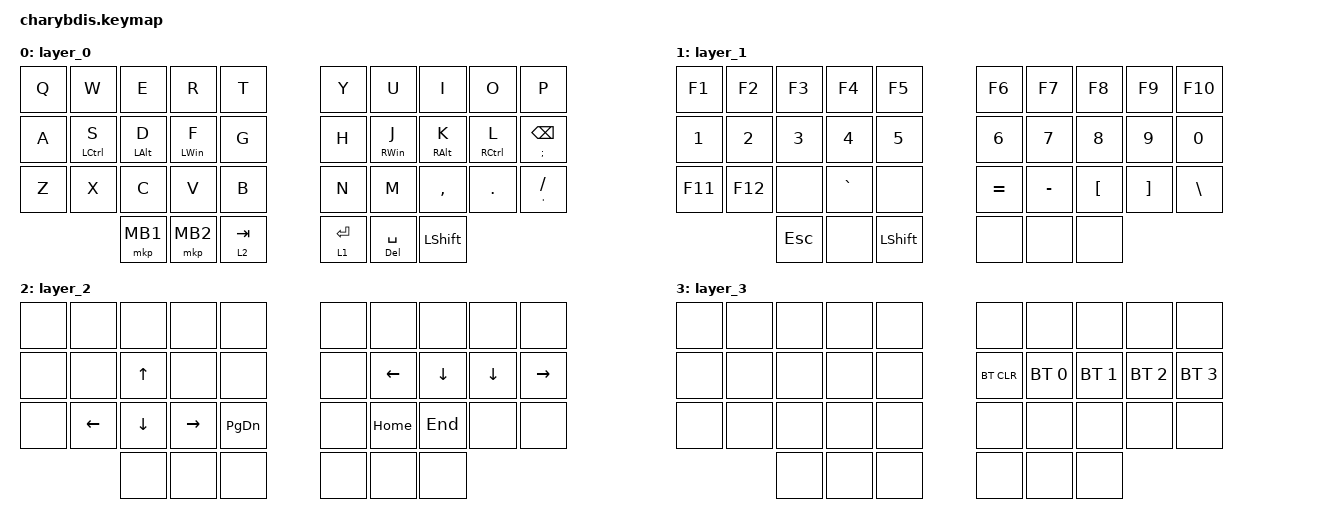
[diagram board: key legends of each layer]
#include <behaviors.dtsi>
#include <dt-bindings/zmk/bt.h>
#include <dt-bindings/zmk/keys.h>
#include <dt-bindings/zmk/pointing.h>
#include <dt-bindings/zmk/rgb.h>

&lt {
    tapping-term-ms = <200>;
    flavor = "balanced";
    quick-tap-ms = <150>;
};

/ {
    macros {
        To1_macro: To1_macro {
            compatible = "zmk,behavior-macro";
            label = "To1_macro";
            #binding-cells = <0>;
            bindings = <&rgb_ug RGB_EFF &rgb_ug RGB_COLOR_HSB(128,100,50) &to 4>;
        };

        To0_macro: To0_macro {
            compatible = "zmk,behavior-macro";
            label = "To0_macro";
            #binding-cells = <0>;
            bindings = <&rgb_ug RGB_EFR &to 0>;
        };

        To2_macro: To2_macro {
            compatible = "zmk,behavior-macro";
            label = "To2_macro";
            #binding-cells = <0>;
            bindings =
                <&to 0>,
                <&macro_wait_time 30>,
                <&rgb_ug RGB_COLOR_HSB(250,100,50)>;
        };
    };

    behaviors {
        ht_kyd: ht_kyd {
            compatible = "zmk,behavior-hold-tap";
            label = "HT_KYD";
            bindings = <&kp>, <&kp>;

            #binding-cells = <2>;
            flavor = "tap-preferred";
            tapping-term-ms = <200>;
            quick-tap-ms = <150>;
        };
    };

    keymap {
        compatible = "zmk,keymap";

        layer_0 {
            bindings = <
&kp Q  &kp W            &kp E               &kp R               &kp T        &kp Y        &kp U                 &kp I                &kp O            &kp P
&kp A  &ht_kyd LCTRL S  &ht_kyd LEFT_ALT D  &ht_kyd LEFT_WIN F  &kp G        &kp H        &ht_kyd RIGHT_WIN J   &ht_kyd RIGHT_ALT K  &ht_kyd RCTRL L  &ht_kyd SEMICOLON BACKSPACE
&kp Z  &kp X            &kp C               &kp V               &kp B        &kp N        &kp M                 &kp COMMA            &kp DOT          &ht_kyd SQT SLASH
                        &mkp MB1            &mkp MB2            &lt 2 TAB    &lt 1 ENTER  &ht_kyd DELETE SPACE  &kp LEFT_SHIFT
            >;
        };

        layer_1 {
            bindings = <
&kp F1   &kp F2   &kp F3      &kp F4     &kp F5            &kp F6     &kp F7     &kp F8            &kp F9             &kp F10
&kp N1   &kp N2   &kp N3      &kp N4     &kp N5            &kp N6     &kp N7     &kp N8            &kp N9             &kp N0
&kp F11  &kp F12  &none       &kp GRAVE  &none             &kp EQUAL  &kp MINUS  &kp LEFT_BRACKET  &kp RIGHT_BRACKET  &kp BACKSLASH
                  &kp ESCAPE  &none      &kp LEFT_SHIFT    &none      &none      &none
            >;
        };

        layer_2 {
            bindings = <
&none  &none           &none           &none            &none            &none  &none           &none           &none           &none
&none  &none           &kp UP_ARROW    &none            &none            &none  &kp LEFT_ARROW  &kp DOWN_ARROW  &kp DOWN_ARROW  &kp RIGHT_ARROW
&none  &kp LEFT_ARROW  &kp DOWN_ARROW  &kp RIGHT_ARROW  &kp PAGE_DOWN    &none  &kp HOME        &kp END         &none           &none
                       &none           &none            &none            &none  &none           &none
            >;
        };

        layer_3 {
            bindings = <
&none  &none  &none  &none  &none    &none       &none         &none         &none         &none
&none  &none  &none  &none  &none    &bt BT_CLR  &bt BT_SEL 0  &bt BT_SEL 1  &bt BT_SEL 2  &bt BT_SEL 3
&none  &none  &none  &none  &none    &none       &none         &none         &none         &none
              &none  &none  &none    &none       &none         &none
            >;
        };

        /* layer_2 {
            bindings = <
&none  &none   &none    &none   &none         &none         &kp N1         &none         &none     &none  &none   &to 0
&none  &none   &none    &none   &none         &none         &none         &none          &rgb_ug RGB_BRD &rgb_ug RGB_BRI  &rgb_ug RGB_EFF   &rgb_ug RGB_TOG
&none  &none   &none    &none   &none         &none         &none         &mkp LCLK     &mkp RCLK  &none  &none   &none
&none  &none   &none    &none   &bt BT_NXT  &bt BT_CLR    &none         &none         &none     &none  &none   &none
                                   &none         &none         &none         &none         &none
                                                 &none         &none         &none
            >;
       
            
        };

       Mouse {
            bindings = <
&none        &none         &none         &none         &none      &none         &none       &none      &none         &none         &none         &none
&none        &bt BT_SEL 0  &bt BT_SEL 1  &bt BT_SEL 3  &none      &bt BT_CLR    &bt BT_CLR  &none      &bt BT_SEL 2  &bt BT_SEL 1  &bt BT_SEL 0  &none
&none        &trans        &trans        &mkp MCLK     &trans     &none         &none       &trans     &mkp MCLK     &trans        &trans        &none
&bootloader  &trans        &mkp RCLK     &mo 4         &mkp LCLK  &mo 5         &mo 5       &mkp LCLK  &mo 4         &mkp RCLK     &trans        &bootloader
                                         &mo 5         &mkp LCLK  &mkp RCLK     &mkp RCLK   &mkp LCLK
                                                       &none      &trans        &trans
            >;

            
        };

        layer_4 {
            bindings = <
&trans  &trans  &trans     &trans     &trans     &trans       &trans     &trans     &trans     &trans     &trans  &trans
&trans  &trans  &trans     &trans     &trans     &trans       &trans     &trans     &trans     &trans     &trans  &trans
&trans  &trans  &trans     &mkp MCLK  &trans     &trans       &trans     &trans     &mkp MCLK  &trans     &trans  &trans
&trans  &trans  &mkp RCLK  &trans     &mkp LCLK  &trans       &trans     &mkp LCLK  &trans     &mkp RCLK  &trans  &trans
                           &trans     &mkp LCLK  &mkp RCLK    &mkp RCLK  &mkp LCLK
                                      &trans     &trans       &trans
            >;
                
                
               
        };

        layer_5 {
            bindings = <
&trans  &trans  &trans     &trans     &trans     &trans       &trans     &trans     &trans     &trans     &trans  &trans
&trans  &trans  &trans     &trans     &trans     &trans       &trans     &trans     &trans     &trans     &trans  &trans
&trans  &trans  &trans     &mkp MCLK  &trans     &trans       &trans     &trans     &mkp MCLK  &trans     &trans  &trans
&trans  &trans  &mkp RCLK  &trans     &mkp LCLK  &trans       &trans     &mkp LCLK  &trans     &mkp RCLK  &trans  &trans
                           &trans     &mkp LCLK  &mkp RCLK    &mkp RCLK  &mkp LCLK
                                      &trans     &trans       &trans
            >;
                
                
        };*/
    };
};
